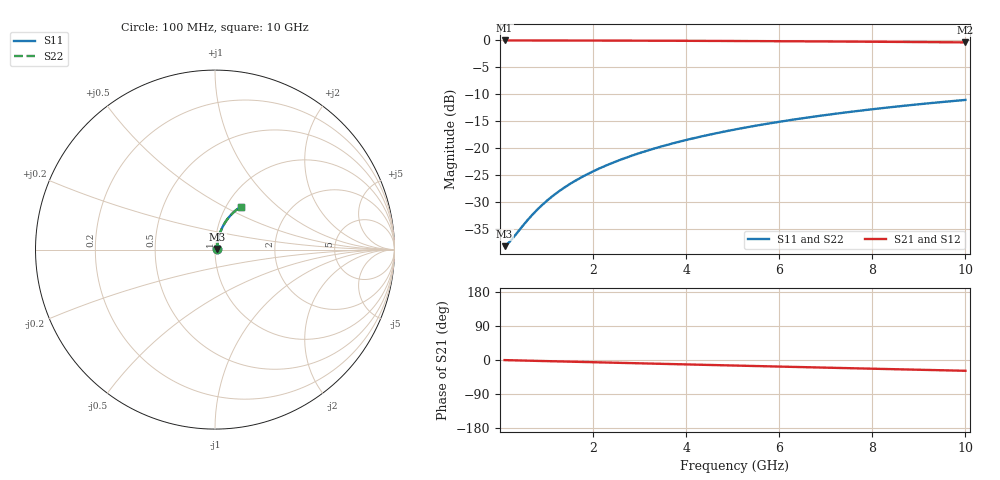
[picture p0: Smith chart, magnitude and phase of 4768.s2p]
# Hz S RI R 50.00
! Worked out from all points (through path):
!   100 points, 100 MHz to 10 GHz, reference 50 ohm
!   highest |S21| = -0.10 dB at 100 MHz (marker M1); lowest = -0.5 dB at 10 GHz (marker M2)
!   group delay of S21, straight-line fit = 7.92 ps
!   lowest |S11| = -38.2 dB at 100 MHz (marker M3), VSWR 1.02, Z = 51.2 + j0.299 ohm
!   |S11| at or under -10 dB: start of sweep to end of sweep
!   |S22| runs from -38.2 to -11.1 dB; largest |S21 - S12| = 0
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1e8  0.012 0.00292  0.988 -0.00504  0.988 -0.00504  0.012 0.00292
2e8  0.0121 0.00583  0.9879 -0.0101  0.9879 -0.0101  0.0121 0.00583
3e8  0.0122 0.00874  0.9878 -0.0151  0.9878 -0.0151  0.0122 0.00874
6e8  0.0127 0.0175  0.9872 -0.0302  0.9872 -0.0302  0.0127 0.0175
7e8  0.013 0.0204  0.9869 -0.0352  0.9869 -0.0352  0.013 0.0204
8e8  0.0132 0.0233  0.9866 -0.0402  0.9866 -0.0402  0.0132 0.0233
1e9  0.0138 0.0291  0.986 -0.0503  0.986 -0.0503  0.0138 0.0291
1.2e9  0.0145 0.0348  0.9852 -0.0603  0.9852 -0.0603  0.0145 0.0348
1.4e9  0.0153 0.0406  0.9842 -0.0703  0.9842 -0.0703  0.0153 0.0406
1.6e9  0.0162 0.0463  0.9832 -0.0803  0.9832 -0.0803  0.0162 0.0463
1.8e9  0.0173 0.0521  0.982 -0.0903  0.982 -0.0903  0.0173 0.0521
2.1e9  0.019 0.0606  0.9799 -0.1051  0.9799 -0.1051  0.019 0.0606
2.5e9  0.0218 0.0719  0.9768 -0.1249  0.9768 -0.1249  0.0218 0.0719
2.9e9  0.025 0.083  0.9731 -0.1445  0.9731 -0.1445  0.025 0.083
3.4e9  0.0296 0.0967  0.9677 -0.1688  0.9677 -0.1688  0.0296 0.0967
4.2e9  0.0383 0.1179  0.9576 -0.2071  0.9576 -0.2071  0.0383 0.1179
5.1e9  0.0501 0.1408  0.9438 -0.2491  0.9438 -0.2491  0.0501 0.1408
5.9e9  0.0622 0.16  0.9297 -0.2854  0.9297 -0.2854  0.0622 0.16
6.7e9  0.0757 0.1781  0.9139 -0.3206  0.9139 -0.3206  0.0757 0.1781
7.5e9  0.0904 0.1949  0.8966 -0.3545  0.8966 -0.3545  0.0904 0.1949
8.4e9  0.1083 0.2122  0.8753 -0.3911  0.8753 -0.3911  0.1083 0.2122
1e10  0.1431 0.2385  0.8336 -0.4517  0.8336 -0.4517  0.1431 0.2385
